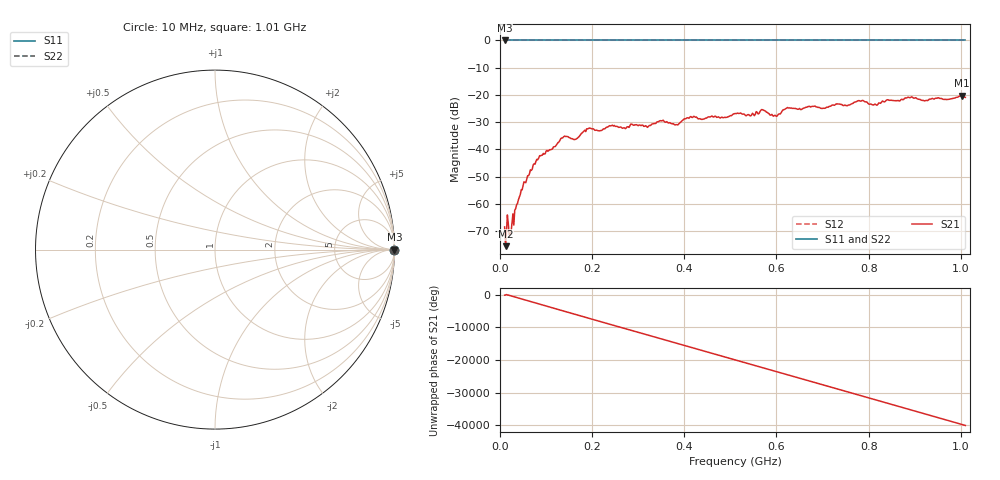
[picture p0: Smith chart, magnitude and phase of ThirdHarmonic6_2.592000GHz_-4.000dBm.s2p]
! 8/17/2025 5:33:20 AM
! C:\ANRITSUVNA\TEMP\TEMP.S2P
! CHANNEL.1
! TR.MEASUREMENT
! RAW.DATA
! RF.CORRECTION.OFF
! AVERAGING.OFF
! IF.BANDWIDTH: 5KHZ
! SWEEPTYPE:  FREQ.SWEEP(Linear)
! Reference Plane Port Info
! PORT:  PORT1  PORT2
! DISTANCE:  0  m  0  m
! TIME:  0  s  0  s
! PHASE.OFFSET:  0  deg.  0  deg.
! LOSS:  0  dB  0  dB
! REF.LOSS:  0  dB  0  dB
! REF.FREQ:  0  Hz  0  Hz
! Power Info
! POWER:  -20  dBm  -20  dBm
! EFF.POWER:  -20  dBm  -20  dBm
! SOURCE.ATTEN:  0  dB  0  dB
! TEST.ATTEN:  0  dB  0  dB
# GHZ S RI R 50.0
! FREQ.GHZ  S11RE  S11IM  S21RE  S21IM  S12RE  S12IM  S22RE  S22IM
!; PortSelection: Port_12
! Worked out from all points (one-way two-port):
!   501 points, 10 MHz to 1.01 GHz, reference 50 ohm
!   highest |S21| = -20.32 dB at 1.002 GHz (marker M1); lowest = -75.6 dB at 12 MHz (marker M2)
!   lowest |S11| = 0.0 dB at 10 MHz (marker M3)
!   |S11| at or under -10 dB: nowhere
!   |S22| runs from 0.0 to 0.0 dB; largest |S21 - S12| = 1.1
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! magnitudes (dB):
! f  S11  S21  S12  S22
! 10 MHz  0.0  -68.5  0.0  0.0
! 12 MHz  0.0  -75.6  0.0  0.0
! 26 MHz  0.0  -67.1  0.0  0.0
! 36 MHz  0.0  -60.4  0.0  0.0
! 50 MHz  0.0  -53.5  0.0  0.0
! 82 MHz  0.0  -43.8  0.0  0.0
! 136 MHz  0.0  -35.8  0.0  0.0
! 164 MHz  0.0  -36.3  0.0  0.0
! 178 MHz  0.0  -34.0  0.0  0.0
! 192 MHz  0.0  -32.3  0.0  0.0
! 322 MHz  0.0  -31.5  0.0  0.0
! 344 MHz  0.0  -29.9  0.0  0.0
! 382 MHz  0.0  -30.9  0.0  0.0
! 416 MHz  0.0  -28.2  0.0  0.0
! 510 MHz  0.0  -26.8  0.0  0.0
! 570 MHz  0.0  -25.5  0.0  0.0
! 598 MHz  0.0  -27.6  0.0  0.0
! 624 MHz  0.0  -24.6  0.0  0.0
! 678 MHz  0.0  -24.2  0.0  0.0
! 844 MHz  0.0  -22.0  0.0  0.0
! 1.002 GHz  0.0  -20.3  0.0  0.0
! 1.01 GHz  0.0  -20.9  0.0  0.0
